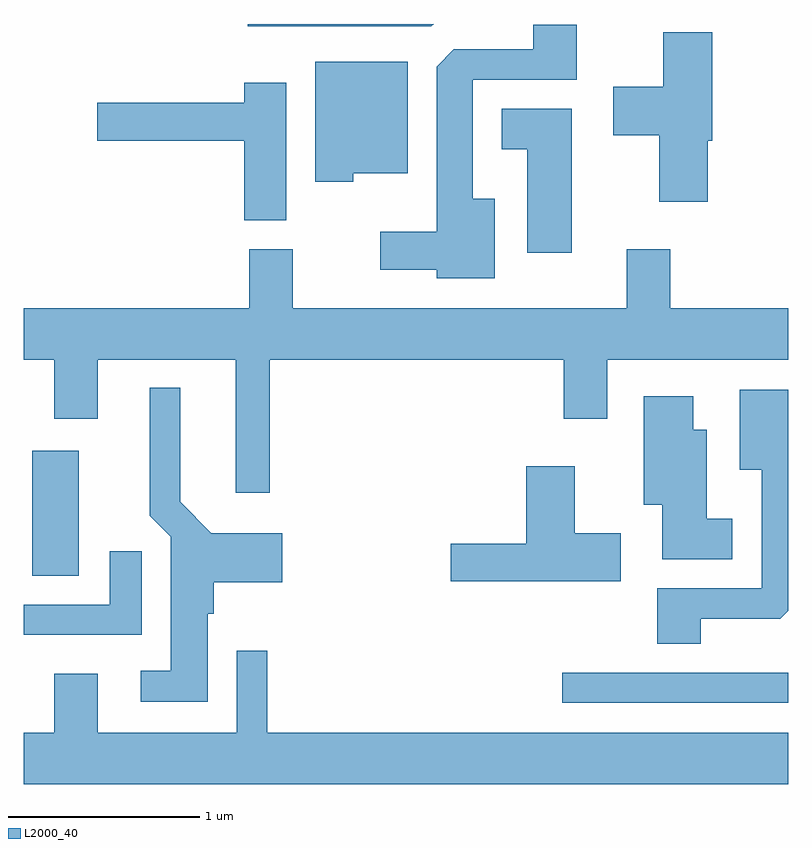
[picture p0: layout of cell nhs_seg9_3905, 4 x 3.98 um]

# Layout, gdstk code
import gdstk
lib = gdstk.Library(unit=1e-6, precision=1e-09)
def R(c, l, rs):  # rectangles x0, y0, x1, y1
    for r in rs: c.add(gdstk.rectangle(r[:2], r[2:], *l))
def P(c, l, *ps):  # polygons
    for p in ps: c.add(gdstk.Polygon(p, *l))
L2000_40 = (2000, 40)

nhs_seg9_3905 = lib.new_cell('nhs_seg9_3905')
R(nhs_seg9_3905, L2000_40, [(302.428,2018.881,303.611,2019.039), (299.656,2019.546,299.899,2020.199)])
P(nhs_seg9_3905, L2000_40, [(301.755,2022.432),(300.783,2022.432),(300.783,2022.421),(301.744,2022.421)],
  [(302.074,2021.519),(301.959,2021.519),(301.959,2022.141),(302.504,2022.141),(302.504,2022.429),(302.276,2022.429),(302.276,2022.299),(301.862,2022.299),(301.771,2022.209),(301.771,2021.344),(301.476,2021.344),(301.476,2021.146),(301.771,2021.146),(301.771,2021.101),(302.074,2021.101)],
  [(303.189,2021.821),(303.214,2021.821),(303.214,2022.389),(302.956,2022.389),(302.956,2022.104),(302.696,2022.104),(302.696,2021.851),(302.936,2021.851),(302.936,2021.501),(303.189,2021.501)],
  [(301.334,2021.651),(301.619,2021.651),(301.619,2022.234),(301.136,2022.234),(301.136,2021.606),(301.334,2021.606)],
  [(300.984,2022.124),(300.766,2022.124),(300.766,2022.019),(299.996,2022.019),(299.996,2021.821),(300.766,2021.821),(300.766,2021.406),(300.984,2021.406)],
  [(302.479,2021.989),(302.111,2021.989),(302.111,2021.776),(302.246,2021.776),(302.246,2021.236),(302.479,2021.236)],
  [(300.899,2020.676),(302.436,2020.676),(302.436,2020.366),(302.664,2020.366),(302.664,2020.676),(303.611,2020.676),(303.611,2020.944),(302.994,2020.944),(302.994,2021.254),(302.766,2021.254),(302.766,2020.944),(301.019,2020.944),(301.019,2021.254),(300.791,2021.254),(300.791,2020.944),(299.611,2020.944),(299.611,2020.676),(299.771,2020.676),(299.771,2020.366),(299.999,2020.366),(299.999,2020.676),(300.721,2020.676),(300.721,2019.981),(300.899,2019.981)],
  [(300.574,2019.346),(300.604,2019.346),(300.604,2019.511),(300.964,2019.511),(300.964,2019.769),(300.592,2019.769),(300.429,2019.932),(300.429,2020.528),(300.271,2020.528),(300.271,2019.859),(300.381,2019.749),(300.381,2019.049),(300.223,2019.049),(300.223,2018.886),(300.574,2018.886)],
  [(303.154,2019.321),(303.569,2019.321),(303.611,2019.363),(303.611,2020.519),(303.356,2020.519),(303.356,2020.101),(303.471,2020.101),(303.471,2019.479),(302.926,2019.479),(302.926,2019.191),(303.154,2019.191)],
  [(303.319,2019.844),(303.184,2019.844),(303.184,2020.309),(303.114,2020.309),(303.114,2020.484),(302.856,2020.484),(302.856,2019.916),(302.951,2019.916),(302.951,2019.631),(303.319,2019.631)],
  [(302.734,2019.769),(302.494,2019.769),(302.494,2020.119),(302.241,2020.119),(302.241,2019.714),(301.846,2019.714),(301.846,2019.516),(302.734,2019.516)],
  [(300.229,2019.673),(300.061,2019.673),(300.061,2019.394),(299.611,2019.394),(299.611,2019.236),(300.229,2019.236)],
  [(303.611,2018.724),(300.884,2018.724),(300.884,2019.153),(300.726,2019.153),(300.726,2018.724),(299.999,2018.724),(299.999,2019.034),(299.771,2019.034),(299.771,2018.724),(299.611,2018.724),(299.611,2018.456),(303.611,2018.456)])

lib.write_gds('nhs_seg9_3905.gds')
